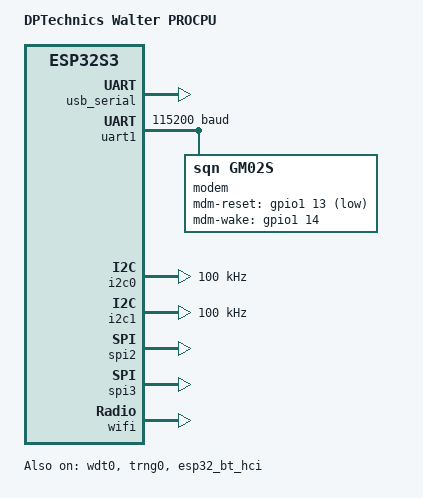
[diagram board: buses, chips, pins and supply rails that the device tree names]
/*
 * Copyright (c) 2024 DPTechnics bv
 *
 * SPDX-License-Identifier: Apache-2.0
 */
/dts-v1/;

#include "espressif/esp32s3/esp32s3_wroom_n16r2.dtsi"
#include "walter-pinctrl.dtsi"
#include <espressif/partitions_0x0_amp_8M.dtsi>

/ {
	model = "DPTechnics Walter PROCPU";
	compatible = "espressif,esp32s3";

	aliases {
		modem = &modem;
		modem-uart = &uart1;
		i2c-0 = &i2c0;
		watchdog0 = &wdt0;
		uart-0 = &usb_serial;
	};

	chosen {
		zephyr,sram = &sram1;
		zephyr,console = &usb_serial;
		zephyr,shell-uart = &usb_serial;
		zephyr,flash = &flash0;
		zephyr,code-partition = &slot0_partition;
		zephyr,bt-hci = &esp32_bt_hci;
	};
};

&usb_serial {
	status = "okay";
};

&uart0 {
	status = "disabled";
};

&uart1 {
	status = "okay";
	current-speed = <115200>;
	hw-flow-control;
	pinctrl-0 = <&uart1_default>;
	pinctrl-names = "default";

	modem: modem {
		status = "okay";
		compatible = "sqn,gm02s";
		mdm-reset-gpios = <&gpio1 13 (GPIO_OPEN_DRAIN | GPIO_ACTIVE_LOW)>;
		mdm-wake-gpios = <&gpio1 14 (GPIO_OPEN_SOURCE | GPIO_ACTIVE_HIGH)>;
	};
};

&gpio0 {
	status = "okay";
};

&gpio1 {
	status = "okay";
};

&i2c0 {
	clock-frequency = <I2C_BITRATE_STANDARD>;
	pinctrl-0 = <&i2c0_default>;
	pinctrl-names = "default";
};

&i2c1 {
	clock-frequency = <I2C_BITRATE_STANDARD>;
	pinctrl-0 = <&i2c1_default>;
	pinctrl-names = "default";
};

&spi2 {
	#address-cells = <1>;
	#size-cells = <0>;
	status = "okay";
	pinctrl-0 = <&spim2_default>;
	pinctrl-names = "default";
};

&spi3 {
	#address-cells = <1>;
	#size-cells = <0>;
	status = "okay";
	pinctrl-0 = <&spim3_default>;
	pinctrl-names = "default";
};

&twai {
	pinctrl-0 = <&twai_default>;
	pinctrl-names = "default";
};

&timer0 {
	status = "disabled";
};

&timer1 {
	status = "disabled";
};

&timer2 {
	status = "disabled";
};

&timer3 {
	status = "disabled";
};

&wdt0 {
	status = "okay";
};

&trng0 {
	status = "okay";
};

&esp32_bt_hci {
	status = "okay";
};

&wifi {
	status = "okay";
};
